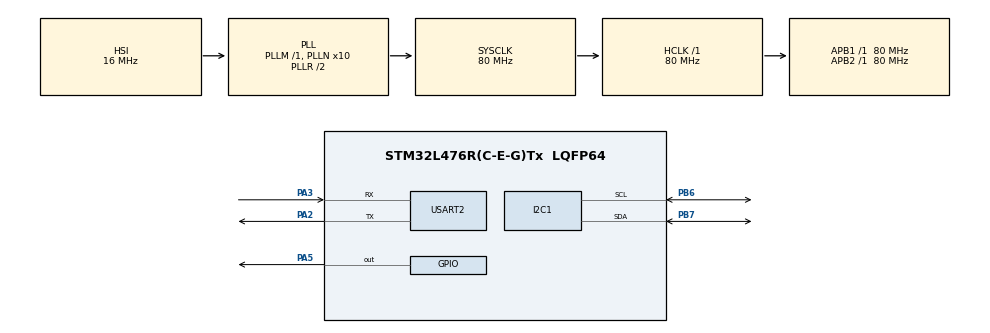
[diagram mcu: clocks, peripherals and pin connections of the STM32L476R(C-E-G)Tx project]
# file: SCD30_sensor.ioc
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I2C1.Timing=0x10909CEC
Mcu.Family=STM32L4
Mcu.Name=STM32L476R(C-E-G)Tx
Mcu.Package=LQFP64
NVIC.PriorityGroup=NVIC_PRIORITYGROUP_4
PA2.Mode=Asynchronous
PA2.Signal=USART2_TX
PA3.Mode=Asynchronous
PA3.Signal=USART2_RX
PA5.Signal=GPIO_Output
PB6.Mode=I2C
PB6.Signal=I2C1_SCL
PB7.Mode=I2C
PB7.Signal=I2C1_SDA
ProjectManager.HeapSize=0x200
ProjectManager.StackSize=0x400
ProjectManager.TargetToolchain=STM32CubeIDE
RCC.ADCFreq_Value=64000000
RCC.AHBFreq_Value=80000000
RCC.APB1Freq_Value=80000000
RCC.APB1TimFreq_Value=80000000
RCC.APB2Freq_Value=80000000
RCC.APB2TimFreq_Value=80000000
RCC.CortexFreq_Value=80000000
RCC.HCLKFreq_Value=80000000
RCC.HSE_VALUE=8000000
RCC.HSI_VALUE=16000000
RCC.LSE_VALUE=32768
RCC.MSI_VALUE=4000000
RCC.PLLN=10
RCC.PLLSourceVirtual=RCC_PLLSOURCE_HSI
RCC.PREFETCH_ENABLE=1
RCC.SYSCLKFreq_VALUE=80000000
RCC.SYSCLKSource=RCC_SYSCLKSOURCE_PLLCLK
RCC.USBFreq_Value=64000000
RCC.VCOOutputFreq_Value=160000000
USART2.VirtualMode-Asynchronous=VM_ASYNC
board=NUCLEO-L476RG

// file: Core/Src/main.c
/* USER CODE BEGIN Header */
/**
  ******************************************************************************
  * @file           : main.c
  * @brief          : Main program body
  ******************************************************************************
  * @attention
  *
  * Copyright (c) 2024 STMicroelectronics.
  * All rights reserved.
  *
  * This software is licensed under terms that can be found in the LICENSE file
  * in the root directory of this software component.
  * If no LICENSE file comes with this software, it is provided AS-IS.
  *
  ******************************************************************************
  */
/* USER CODE END Header */
#include "main.h"

/* USER CODE BEGIN Includes */
#include <stdio.h>

/*It still works if we take off this part, but it is recommended to keep it---*/
#include "scd30.h"
#include "sensirion_common.h"
#include "sensirion_i2c.h"
#include "sensirion_arch_config.h"
#include "scd_git_version.h"
/*It still works if we take off this part, but it is recommended to keep it---*/

/* USER CODE END Includes */

/* USER CODE BEGIN PD */
#ifdef SCD30_ADDRESS
static const uint8_t SCD30_I2C_ADDRESS = SCD30_ADDRESS;
#else
static const uint8_t SCD30_I2C_ADDRESS = 0x61;
#endif

#define SCD30_CMD_START_PERIODIC_MEASUREMENT 0x0010
#define SCD30_CMD_STOP_PERIODIC_MEASUREMENT 0x0104
#define SCD30_CMD_READ_MEASUREMENT 0x0300
#define SCD30_CMD_SET_MEASUREMENT_INTERVAL 0x4600
#define SCD30_CMD_GET_DATA_READY 0x0202
#define SCD30_CMD_SET_TEMPERATURE_OFFSET 0x5403
#define SCD30_CMD_SET_ALTITUDE 0x5102
#define SCD30_CMD_SET_FORCED_RECALIBRATION 0x5204
#define SCD30_CMD_AUTO_SELF_CALIBRATION 0x5306
#define SCD30_CMD_READ_SERIAL 0xD033
#define SCD30_SERIAL_NUM_WORDS 16
#define SCD30_WRITE_DELAY_US 20000

#define SCD30_MAX_BUFFER_WORDS 24
#define SCD30_CMD_SINGLE_WORD_BUF_LEN \
    (SENSIRION_COMMAND_SIZE + SENSIRION_WORD_SIZE + CRC8_LEN)

/* USER CODE END PD */

I2C_HandleTypeDef hi2c1;

UART_HandleTypeDef huart2;

/* USER CODE BEGIN PV */
float co2_ppm, temperature, relative_humidity;
uint8_t err;
uint16_t interval_in_seconds = 2;

uint8_t err0[] = "SCD30 sensor probing failed\r\n";
uint8_t success[] = "SCD30 sensor probing successful\r\n";
uint8_t err2[] = "Error reading data_ready flag:\r\n";
uint8_t err3[] = "Timeout waiting for data_ready flag\r\n";
uint8_t err4[] = "error reading measurement\r\n";
uint8_t mess0[] = "error reading measurement\r\n";
uint8_t data[] = "Data\r\n";
float rep[3];
/* USER CODE END PV */

void SystemClock_Config(void);
static void MX_GPIO_Init(void);
static void MX_I2C1_Init(void);
static void MX_USART2_UART_Init(void);
/* USER CODE BEGIN PFP */
void sensirion_sleep_usec(uint32_t useconds);

/* USER CODE END PFP */

int main(void)
{

  /* MCU Configuration--------------------------------------------------------*/

  /* Reset of all peripherals, Initializes the Flash interface and the Systick. */
  HAL_Init();

  /* Configure the system clock */
  SystemClock_Config();

  /* Initialize all configured peripherals */
  MX_GPIO_Init();
  MX_I2C1_Init();
  MX_USART2_UART_Init();
  /* USER CODE BEGIN 2 */
  while (scd30_probe() != NO_ERROR) {
      HAL_UART_Transmit(&huart2, err0, sizeof(err0), 10);
      sensirion_sleep_usec(1000000u);
  }
  HAL_UART_Transmit(&huart2, success, sizeof(success), 10);
  HAL_GPIO_TogglePin(GPIOA, GPIO_PIN_5);

  scd30_set_measurement_interval(interval_in_seconds);
  sensirion_sleep_usec(20000u);
  scd30_start_periodic_measurement(0);

  /* USER CODE END 2 */

  /* Infinite loop */
  while (1)
  {

    /* USER CODE BEGIN 3 */
      uint16_t data_ready = 0;
      uint16_t timeout = 0;
      char buffer[60];

      /* Poll data_ready flag until data is available. Allow 20% more than
       * the measurement interval to account for clock imprecision of the
       * sensor.
       */
      for (timeout = 0; (100000 * timeout) < (interval_in_seconds * 1200000);
           ++timeout) {

    	  err = scd30_get_data_ready(&data_ready);
          if (err != NO_ERROR) {
        	  HAL_UART_Transmit(&huart2, err2, sizeof(err2), 10);
          }
          if (data_ready) {
              break;
          }
          sensirion_sleep_usec(100000);
      }
      if (!data_ready) {
    	  HAL_UART_Transmit(&huart2, err3, sizeof(err3), 10);
          continue;
      }

      /* Measure co2, temperature and relative humidity and store into
       * variables.
       */
      err =
          scd30_read_measurement(&co2_ppm, &temperature, &relative_humidity);
      if (err != NO_ERROR) {
    	  HAL_UART_Transmit(&huart2, err4, sizeof(err4), 10);

      } else {
    	  rep[0] = *&co2_ppm;
    	  rep[1] = *&temperature;
    	  rep[2] = *&relative_humidity;

    	  sprintf(buffer, "\n\rCO2 : %0.1f ppm \t Temperature : %0.1f C \t Humidity : %0.1f%% \r\n", rep[0], rep[1], rep[2]);
    	  HAL_GPIO_TogglePin(GPIOA, GPIO_PIN_5); //Toggles the LD2 every time a line of data is sent to the UART interface
    	  HAL_Delay(100); //Delays the LD2 every
    	  HAL_UART_Transmit(&huart2, buffer, sizeof(buffer), 10);
    	  HAL_GPIO_TogglePin(GPIOA, GPIO_PIN_5); //Re-toggles the LD2 every time a line of data is sent to the UART interface
      }
  }

  scd30_stop_periodic_measurement();

  /* USER CODE END 3 */
}

void SystemClock_Config(void)
{
  RCC_OscInitTypeDef RCC_OscInitStruct = {0};
  RCC_ClkInitTypeDef RCC_ClkInitStruct = {0};

  /** Configure the main internal regulator output voltage
  */
  if (HAL_PWREx_ControlVoltageScaling(PWR_REGULATOR_VOLTAGE_SCALE1) != HAL_OK)
  {
    Error_Handler();
  }

  /** Initializes the RCC Oscillators according to the specified parameters
  * in the RCC_OscInitTypeDef structure.
  */
  RCC_OscInitStruct.OscillatorType = RCC_OSCILLATORTYPE_HSI;
  RCC_OscInitStruct.HSIState = RCC_HSI_ON;
  RCC_OscInitStruct.HSICalibrationValue = RCC_HSICALIBRATION_DEFAULT;
  RCC_OscInitStruct.PLL.PLLState = RCC_PLL_ON;
  RCC_OscInitStruct.PLL.PLLSource = RCC_PLLSOURCE_HSI;
  RCC_OscInitStruct.PLL.PLLM = 1;
  RCC_OscInitStruct.PLL.PLLN = 10;
  RCC_OscInitStruct.PLL.PLLP = RCC_PLLP_DIV7;
  RCC_OscInitStruct.PLL.PLLQ = RCC_PLLQ_DIV2;
  RCC_OscInitStruct.PLL.PLLR = RCC_PLLR_DIV2;
  if (HAL_RCC_OscConfig(&RCC_OscInitStruct) != HAL_OK)
  {
    Error_Handler();
  }

  /** Initializes the CPU, AHB and APB buses clocks
  */
  RCC_ClkInitStruct.ClockType = RCC_CLOCKTYPE_HCLK|RCC_CLOCKTYPE_SYSCLK
                              |RCC_CLOCKTYPE_PCLK1|RCC_CLOCKTYPE_PCLK2;
  RCC_ClkInitStruct.SYSCLKSource = RCC_SYSCLKSOURCE_PLLCLK;
  RCC_ClkInitStruct.AHBCLKDivider = RCC_SYSCLK_DIV1;
  RCC_ClkInitStruct.APB1CLKDivider = RCC_HCLK_DIV1;
  RCC_ClkInitStruct.APB2CLKDivider = RCC_HCLK_DIV1;

  if (HAL_RCC_ClockConfig(&RCC_ClkInitStruct, FLASH_LATENCY_4) != HAL_OK)
  {
    Error_Handler();
  }
}

static void MX_I2C1_Init(void)
{

  hi2c1.Instance = I2C1;
  hi2c1.Init.Timing = 0x10909CEC;
  hi2c1.Init.OwnAddress1 = 0;
  hi2c1.Init.AddressingMode = I2C_ADDRESSINGMODE_7BIT;
  hi2c1.Init.DualAddressMode = I2C_DUALADDRESS_DISABLE;
  hi2c1.Init.OwnAddress2 = 0;
  hi2c1.Init.OwnAddress2Masks = I2C_OA2_NOMASK;
  hi2c1.Init.GeneralCallMode = I2C_GENERALCALL_DISABLE;
  hi2c1.Init.NoStretchMode = I2C_NOSTRETCH_DISABLE;
  if (HAL_I2C_Init(&hi2c1) != HAL_OK)
  {
    Error_Handler();
  }

  /** Configure Analogue filter
  */
  if (HAL_I2CEx_ConfigAnalogFilter(&hi2c1, I2C_ANALOGFILTER_ENABLE) != HAL_OK)
  {
    Error_Handler();
  }

  /** Configure Digital filter
  */
  if (HAL_I2CEx_ConfigDigitalFilter(&hi2c1, 0) != HAL_OK)
  {
    Error_Handler();
  }

}

static void MX_USART2_UART_Init(void)
{

  huart2.Instance = USART2;
  huart2.Init.BaudRate = 115200;
  huart2.Init.WordLength = UART_WORDLENGTH_8B;
  huart2.Init.StopBits = UART_STOPBITS_1;
  huart2.Init.Parity = UART_PARITY_NONE;
  huart2.Init.Mode = UART_MODE_TX_RX;
  huart2.Init.HwFlowCtl = UART_HWCONTROL_NONE;
  huart2.Init.OverSampling = UART_OVERSAMPLING_16;
  huart2.Init.OneBitSampling = UART_ONE_BIT_SAMPLE_DISABLE;
  huart2.AdvancedInit.AdvFeatureInit = UART_ADVFEATURE_NO_INIT;
  if (HAL_UART_Init(&huart2) != HAL_OK)
  {
    Error_Handler();
  }

}

static void MX_GPIO_Init(void)
{
  GPIO_InitTypeDef GPIO_InitStruct = {0};

  /* GPIO Ports Clock Enable */
  __HAL_RCC_GPIOA_CLK_ENABLE();
  __HAL_RCC_GPIOB_CLK_ENABLE();

  /*Configure GPIO pin Output Level */
  HAL_GPIO_WritePin(GPIOA, GPIO_PIN_5, GPIO_PIN_RESET);

  /*Configure GPIO pin : PA5 */
  GPIO_InitStruct.Pin = GPIO_PIN_5;
  GPIO_InitStruct.Mode = GPIO_MODE_OUTPUT_PP;
  GPIO_InitStruct.Pull = GPIO_NOPULL;
  GPIO_InitStruct.Speed = GPIO_SPEED_FREQ_LOW;
  HAL_GPIO_Init(GPIOA, &GPIO_InitStruct);

}

/* USER CODE BEGIN 4 */
uint32_t sensirion_bytes_to_uint32_t(const uint8_t* bytes) {
    return (uint32_t)bytes[0] << 24 | (uint32_t)bytes[1] << 16 |
           (uint32_t)bytes[2] << 8 | (uint32_t)bytes[3];
}

float sensirion_bytes_to_float(const uint8_t* bytes) {
    union {
        uint32_t u32_value;
        float float32;
    } tmp;

    tmp.u32_value = sensirion_bytes_to_uint32_t(bytes);
    return tmp.float32;
}

uint8_t sensirion_common_generate_crc(const uint8_t* data, uint16_t count) {
    uint16_t current_byte;
    uint8_t crc = CRC8_INIT;
    uint8_t crc_bit;

    /* calculates 8-Bit checksum with given polynomial */
    for (current_byte = 0; current_byte < count; ++current_byte) {
        crc ^= (data[current_byte]);
        for (crc_bit = 8; crc_bit > 0; --crc_bit) {
            if (crc & 0x80)
                crc = (crc << 1) ^ CRC8_POLYNOMIAL;
            else
                crc = (crc << 1);
        }
    }
    return crc;
}

int8_t sensirion_common_check_crc(const uint8_t* data, uint16_t count,
                                  uint8_t checksum) {
    if (sensirion_common_generate_crc(data, count) != checksum)
        return STATUS_FAIL;
    return NO_ERROR;
}

int16_t sensirion_i2c_general_call_reset(void) {
    const uint8_t data = 0x06;
    return sensirion_i2c_write(0, &data, (uint16_t)sizeof(data));
}

uint16_t sensirion_fill_cmd_send_buf(uint8_t* buf, uint16_t cmd,
                                     const uint16_t* args, uint8_t num_args) {
    uint8_t crc;
    uint8_t i;
    uint16_t idx = 0;

    buf[idx++] = (uint8_t)((cmd & 0xFF00) >> 8);
    buf[idx++] = (uint8_t)((cmd & 0x00FF) >> 0);

    for (i = 0; i < num_args; ++i) {
        buf[idx++] = (uint8_t)((args[i] & 0xFF00) >> 8);
        buf[idx++] = (uint8_t)((args[i] & 0x00FF) >> 0);

        crc = sensirion_common_generate_crc((uint8_t*)&buf[idx - 2],
                                            SENSIRION_WORD_SIZE);
        buf[idx++] = crc;
    }
    return idx;
}

int16_t sensirion_i2c_read_words_as_bytes(uint8_t address, uint8_t* data,
                                          uint16_t num_words) {
    int16_t ret;
    uint16_t i, j;
    uint16_t size = num_words * (SENSIRION_WORD_SIZE + CRC8_LEN);
    uint16_t word_buf[SENSIRION_MAX_BUFFER_WORDS];
    uint8_t* const buf8 = (uint8_t*)word_buf;

    ret = sensirion_i2c_read(address, buf8, size);
    if (ret != NO_ERROR)
        return ret;

    /* check the CRC for each word */
    for (i = 0, j = 0; i < size; i += SENSIRION_WORD_SIZE + CRC8_LEN) {

        ret = sensirion_common_check_crc(&buf8[i], SENSIRION_WORD_SIZE,
                                         buf8[i + SENSIRION_WORD_SIZE]);
        if (ret != NO_ERROR)
            return ret;

        data[j++] = buf8[i];
        data[j++] = buf8[i + 1];
    }

    return NO_ERROR;
}

int16_t sensirion_i2c_read_words(uint8_t address, uint16_t* data_words,
                                 uint16_t num_words) {
    int16_t ret;
    uint8_t i;
    const uint8_t* word_bytes;

    ret = sensirion_i2c_read_words_as_bytes(address, (uint8_t*)data_words,
                                            num_words);
    if (ret != NO_ERROR)
        return ret;

    for (i = 0; i < num_words; ++i) {
        word_bytes = (uint8_t*)&data_words[i];
        data_words[i] = ((uint16_t)word_bytes[0] << 8) | word_bytes[1];
    }

    return NO_ERROR;
}

int16_t sensirion_i2c_write_cmd(uint8_t address, uint16_t command) {
    uint8_t buf[SENSIRION_COMMAND_SIZE];

    sensirion_fill_cmd_send_buf(buf, command, NULL, 0);
    return sensirion_i2c_write(address, buf, SENSIRION_COMMAND_SIZE);
}

int16_t sensirion_i2c_write_cmd_with_args(uint8_t address, uint16_t command,
                                          const uint16_t* data_words,
                                          uint16_t num_words) {
    uint8_t buf[SENSIRION_MAX_BUFFER_WORDS];
    uint16_t buf_size;

    buf_size = sensirion_fill_cmd_send_buf(buf, command, data_words, num_words);
    return sensirion_i2c_write(address, buf, buf_size);
}

int16_t sensirion_i2c_delayed_read_cmd(uint8_t address, uint16_t cmd,
                                       uint32_t delay_us, uint16_t* data_words,
                                       uint16_t num_words) {
    int16_t ret;
    uint8_t buf[SENSIRION_COMMAND_SIZE];

    sensirion_fill_cmd_send_buf(buf, cmd, NULL, 0);
    ret = sensirion_i2c_write(address, buf, SENSIRION_COMMAND_SIZE);
    if (ret != NO_ERROR)
        return ret;

    if (delay_us)
        sensirion_sleep_usec(delay_us);

    return sensirion_i2c_read_words(address, data_words, num_words);
}

int16_t sensirion_i2c_read_cmd(uint8_t address, uint16_t cmd,
                               uint16_t* data_words, uint16_t num_words) {
    return sensirion_i2c_delayed_read_cmd(address, cmd, 0, data_words,
                                          num_words);
}
int16_t sensirion_i2c_select_bus(uint8_t bus_idx) {
    // IMPLEMENT or leave empty if all sensors are located on one single bus
    return STATUS_FAIL;
}

/**
 * Execute one read transaction on the I2C bus, reading a given number of bytes.
 * If the device does not acknowledge the read command, an error shall be
 * returned.
 *
 * @param address 7-bit I2C address to read from
 * @param data    pointer to the buffer where the data is to be stored
 * @param count   number of bytes to read from I2C and store in the buffer
 * @returns 0 on success, error code otherwise
 */
int8_t sensirion_i2c_read(uint8_t address, uint8_t* data, uint16_t count) {
    return (int8_t)HAL_I2C_Master_Receive(&hi2c1, (uint16_t)(address << 1),
                                          data, count, 100);
}

/**
 * Execute one write transaction on the I2C bus, sending a given number of
 * bytes. The bytes in the supplied buffer must be sent to the given address. If
 * the slave device does not acknowledge any of the bytes, an error shall be
 * returned.
 *
 * @param address 7-bit I2C address to write to
 * @param data    pointer to the buffer containing the data to write
 * @param count   number of bytes to read from the buffer and send over I2C
 * @returns 0 on success, error code otherwise
 */
int8_t sensirion_i2c_write(uint8_t address, const uint8_t* data,
                           uint16_t count) {
    return (int8_t)HAL_I2C_Master_Transmit(&hi2c1, (uint16_t)(address << 1),
                                           (uint8_t*)data, count, 100);
}

/**
 * Sleep for a given number of microseconds. The function should delay the
 * execution for at least the given time, but may also sleep longer.
 *
 * Despite the unit, a <10 millisecond precision is sufficient.
 *
 * @param useconds the sleep time in microseconds
 */
void sensirion_sleep_usec(uint32_t useconds) {
    uint32_t msec = useconds / 1000;
    if (useconds % 1000 > 0) {
        msec++;
    }

    /*
     * Increment by 1 if STM32F1 driver version less than 1.1.1
     * Old firmwares of STM32F1 sleep 1ms shorter than specified in HAL_Delay.
     * This was fixed with firmware 1.6 (driver version 1.1.1), so we have to
     * fix it ourselves for older firmwares
     */
    if (HAL_GetHalVersion() < 0x01010100) {
        msec++;
    }

    HAL_Delay(msec);
}

int16_t scd30_start_periodic_measurement(uint16_t ambient_pressure_mbar) {
    if (ambient_pressure_mbar &&
        (ambient_pressure_mbar < 700 || ambient_pressure_mbar > 1400)) {
        /* out of allowable range */
        return STATUS_FAIL;
    }

    return sensirion_i2c_write_cmd_with_args(
        SCD30_I2C_ADDRESS, SCD30_CMD_START_PERIODIC_MEASUREMENT,
        &ambient_pressure_mbar, SENSIRION_NUM_WORDS(ambient_pressure_mbar));
}

int16_t scd30_stop_periodic_measurement() {
    return sensirion_i2c_write_cmd(SCD30_I2C_ADDRESS,
                                   SCD30_CMD_STOP_PERIODIC_MEASUREMENT);
}

int16_t scd30_read_measurement(float* co2_ppm, float* temperature,
                               float* humidity) {
    int16_t error;
    uint8_t data[3][4];

    error =
        sensirion_i2c_write_cmd(SCD30_I2C_ADDRESS, SCD30_CMD_READ_MEASUREMENT);
    if (error != NO_ERROR)
        return error;

    error = sensirion_i2c_read_words_as_bytes(SCD30_I2C_ADDRESS, &data[0][0],
                                              SENSIRION_NUM_WORDS(data));
    if (error != NO_ERROR)
        return error;

    *co2_ppm = sensirion_bytes_to_float(data[0]);
    *temperature = sensirion_bytes_to_float(data[1]);
    *humidity = sensirion_bytes_to_float(data[2]);

    return NO_ERROR;
}

int16_t scd30_set_measurement_interval(uint16_t interval_sec) {
    int16_t error;

    if (interval_sec < 2 || interval_sec > 1800) {
        /* out of allowable range */
        return STATUS_FAIL;
    }

    error = sensirion_i2c_write_cmd_with_args(
        SCD30_I2C_ADDRESS, SCD30_CMD_SET_MEASUREMENT_INTERVAL, &interval_sec,
        SENSIRION_NUM_WORDS(interval_sec));
    sensirion_sleep_usec(SCD30_WRITE_DELAY_US);

    return error;
}

int16_t scd30_get_data_ready(uint16_t* data_ready) {
    return sensirion_i2c_delayed_read_cmd(
        SCD30_I2C_ADDRESS, SCD30_CMD_GET_DATA_READY, 3000, data_ready,
        SENSIRION_NUM_WORDS(*data_ready));
}

int16_t scd30_set_temperature_offset(uint16_t temperature_offset) {
    int16_t error;

    error = sensirion_i2c_write_cmd_with_args(
        SCD30_I2C_ADDRESS, SCD30_CMD_SET_TEMPERATURE_OFFSET,
        &temperature_offset, SENSIRION_NUM_WORDS(temperature_offset));
    sensirion_sleep_usec(SCD30_WRITE_DELAY_US);

    return error;
}

int16_t scd30_set_altitude(uint16_t altitude) {
    int16_t error;

    error = sensirion_i2c_write_cmd_with_args(SCD30_I2C_ADDRESS,
                                              SCD30_CMD_SET_ALTITUDE, &altitude,
                                              SENSIRION_NUM_WORDS(altitude));
    sensirion_sleep_usec(SCD30_WRITE_DELAY_US);

    return error;
}

int16_t scd30_get_automatic_self_calibration(uint8_t* asc_enabled) {
    uint16_t word;
    int16_t error;

    error = sensirion_i2c_read_cmd(SCD30_I2C_ADDRESS,
                                   SCD30_CMD_AUTO_SELF_CALIBRATION, &word,
                                   SENSIRION_NUM_WORDS(word));
    if (error != NO_ERROR)
        return error;

    *asc_enabled = (uint8_t)word;

    return NO_ERROR;
}

int16_t scd30_enable_automatic_self_calibration(uint8_t enable_asc) {
    int16_t error;
    uint16_t asc = !!enable_asc;

    error = sensirion_i2c_write_cmd_with_args(SCD30_I2C_ADDRESS,
                                              SCD30_CMD_AUTO_SELF_CALIBRATION,
                                              &asc, SENSIRION_NUM_WORDS(asc));
    sensirion_sleep_usec(SCD30_WRITE_DELAY_US);

    return error;
}

int16_t scd30_set_forced_recalibration(uint16_t co2_ppm) {
    int16_t error;

    error = sensirion_i2c_write_cmd_with_args(
        SCD30_I2C_ADDRESS, SCD30_CMD_SET_FORCED_RECALIBRATION, &co2_ppm,
        SENSIRION_NUM_WORDS(co2_ppm));
    sensirion_sleep_usec(SCD30_WRITE_DELAY_US);

    return error;
}

int16_t scd30_read_serial(char* serial) {
    int16_t error;

    error = sensirion_i2c_write_cmd(SCD30_I2C_ADDRESS, SCD30_CMD_READ_SERIAL);
    if (error)
        return error;

    sensirion_sleep_usec(SCD30_WRITE_DELAY_US);
    error = sensirion_i2c_read_words_as_bytes(
        SCD30_I2C_ADDRESS, (uint8_t*)serial, SCD30_SERIAL_NUM_WORDS);
    serial[2 * SCD30_SERIAL_NUM_WORDS] = '\0';
    return error;
}

const char* scd30_get_driver_version() {
    return SCD_DRV_VERSION_STR;
}

uint8_t scd30_get_configured_address() {
    return SCD30_I2C_ADDRESS;
}

int16_t scd30_probe() {
    uint16_t data_ready;

    /* try to read data-ready state */
    return scd30_get_data_ready(&data_ready);
}
/* USER CODE END 4 */

void Error_Handler(void)
{
  __disable_irq();
  while (1)
  {
  }
}
